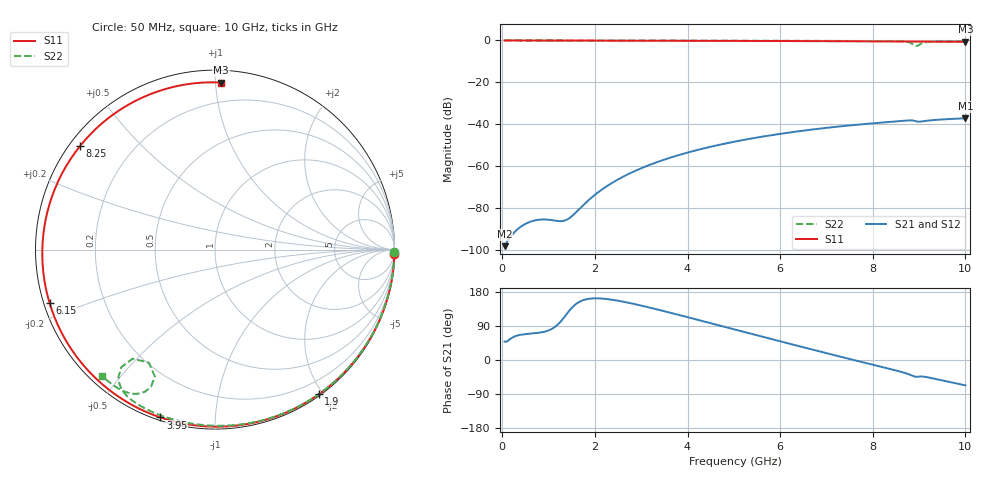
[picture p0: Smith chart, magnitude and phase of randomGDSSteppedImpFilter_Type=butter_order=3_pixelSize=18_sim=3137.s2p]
! freq	dB(S11)	phase(S11)	dB(S12)	phase(S12)
!  dB(S21)	phase(S21)	dB(S22)	phase(S22)
!S-par simulation data
#  GHz  S  DB  R 50
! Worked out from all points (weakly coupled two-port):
!   200 points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, 50 MHz to 10 GHz, reference 50 ohm
!   highest |S21| = -37.20 dB at 10 GHz (marker M1); lowest = -98.4 dB at 50 MHz (marker M2)
!   lowest |S11| = -0.6 dB at 10 GHz (marker M3), VSWR 28.15, Z = 3.68 + j51.7 ohm
!   |S11| at or under -10 dB: nowhere
!   |S22| runs from -2.7 to 0.0 dB; largest |S21 - S12| = 0
!   S11 on the Smith chart (normalised r, x): 50 MHz: 0, -78; 1.9 GHz: 0.02, -1.95; 3.95 GHz: 0.01, -0.73; 6.15 GHz: 0.02, -0.16; 8.25 GHz: 0.03, +0.34; 10 GHz: 0.07, +1.03
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0.05  -0.00 -1.5  -98.40 48.7  -98.40 48.7  -0.00 -0.8
0.85  -0.03 -24.8  -85.64 73.1  -85.64 73.1  -0.01 -13.1
1.65  -0.06 -47.4  -80.92 152.5  -80.92 152.5  -0.03 -25.1
1.75  -0.06 -50.2  -78.73 158.1  -78.73 158.1  -0.03 -26.6
1.9  -0.07 -54.4  -75.67 162.0  -75.67 162.0  -0.04 -28.9
2.2  -0.08 -62.6  -70.55 161.6  -70.55 161.6  -0.04 -33.3
2.55  -0.09 -72.0  -65.86 155.3  -65.86 155.3  -0.05 -38.5
3.4  -0.12 -94.1  -57.74 131.7  -57.74 131.7  -0.07 -50.7
3.95  -0.15 -108.0  -53.94 114.6  -53.94 114.6  -0.08 -58.5
5.05  -0.20 -135.0  -48.25 79.5  -48.25 79.5  -0.11 -73.5
6.15  -0.28 -162.0  -44.19 44.6  -44.19 44.6  -0.15 -87.8
6.7  -0.32 -175.8  -42.58 27.3  -42.58 27.3  -0.18 -94.8
7.5  -0.39 163.4  -40.64 2.7  -40.64 2.7  -0.23 -105.0
8.25  -0.47 142.5  -39.17 -20.0  -39.17 -20.0  -0.30 -115.0
8.35  -0.47 139.6  -38.99 -23.0  -38.99 -23.0  -0.32 -116.6
8.65  -0.50 130.8  -38.45 -32.5  -38.45 -32.5  -0.50 -122.4
8.8  -0.52 126.3  -38.23 -38.6  -38.23 -38.6  -1.02 -127.2
8.9  -0.53 123.3  -38.44 -43.6  -38.44 -43.6  -2.36 -127.1
9  -0.54 120.2  -38.87 -43.7  -38.87 -43.7  -2.13 -115.4
9.15  -0.55 115.5  -38.44 -44.8  -38.44 -44.8  -0.87 -117.6
9.45  -0.57 106.0  -37.85 -52.6  -37.85 -52.6  -0.53 -123.9
10  -0.62 87.9  -37.20 -66.9  -37.20 -66.9  -0.50 -131.7
